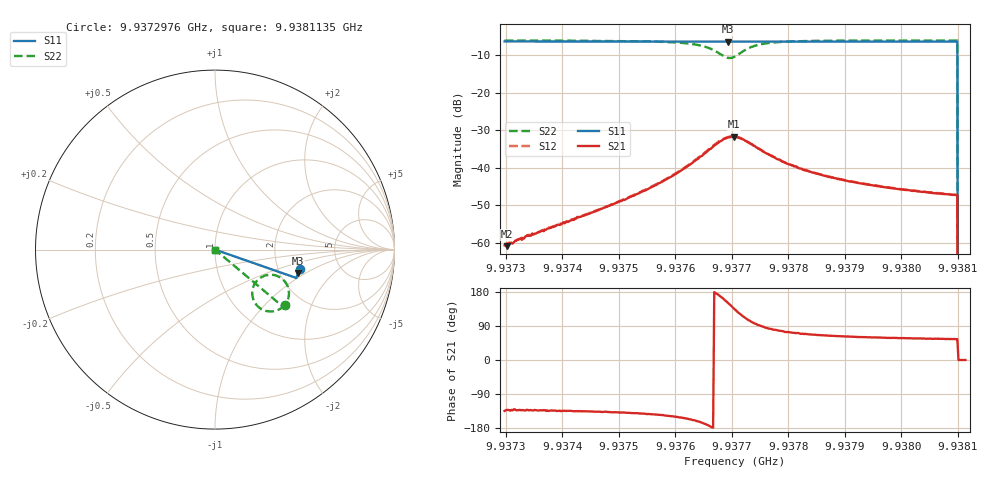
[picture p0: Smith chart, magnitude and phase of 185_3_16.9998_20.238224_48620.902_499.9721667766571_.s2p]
#  HZ  S  RI  R  50.00
! Rohde & Schwarz Vector Network Analyzer
! Rohde-Schwarz,ZNB20-2Port,1311601062101988,3.16
! Created: UTC 3/20/2024, 11:00:20 PM
! freq[Hz]  re:S11  im:S11  re:S21  im:S21  re:S12  im:S12  re:S22  im:S22
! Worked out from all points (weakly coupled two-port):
!   401 points, 9.9372976 GHz to 9.9381135 GHz, reference 50 ohm
!   highest |S21| = -31.72 dB at 9.9377035 GHz (marker M1); lowest = -60.9 dB at 9.9373017 GHz (marker M2)
!   lowest |S11| = -6.4 dB at 9.9376933 GHz (marker M3), VSWR 2.84, Z = 125 - j42.6 ohm
!   |S11| at or under -10 dB: 9.9380993 GHz to end of sweep
!   |S22| runs from - to -6.0 dB; largest |S21 - S12| = 0.0012
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9.93729758e9  0.4717 -0.1063  -0.000645 -0.000661  -0.000636 -0.000685  0.3889 -0.3103
9.93730166e9  0.4714 -0.1065  -0.000597 -0.000675  -0.000684 -0.00071  0.3885 -0.3105
9.93733837e9  0.4709 -0.109  -0.000839 -0.000945  -0.00088 -0.000911  0.3851 -0.3139
9.93743425e9  0.4689 -0.1156  -0.0016 -0.0016  -0.00165 -0.00162  0.3737 -0.3232
9.93750768e9  0.4671 -0.1204  -0.00279 -0.00247  -0.00288 -0.00246  0.3595 -0.3323
9.93757091e9  0.4655 -0.1248  -0.00508 -0.00359  -0.00521 -0.00356  0.3368 -0.3412
9.93760967e9  0.4644 -0.1275  -0.00805 -0.00432  -0.00829 -0.00426  0.3101 -0.3448
9.93765047e9  0.4626 -0.1303  -0.0149 -0.00326  -0.0154 -0.00304  0.2543 -0.3285
9.93767698e9  0.4611 -0.1313  -0.0216 0.00344  -0.022 0.00422  0.2098 -0.2644
9.9376933e9  0.4603 -0.1313  -0.0221 0.0125  -0.022 0.0135  0.2205 -0.1921
9.9377035e9  0.4605 -0.1313  -0.0187 0.0179  -0.0182 0.0188  0.2564 -0.155
9.93770554e9  0.4606 -0.1314  -0.0176 0.0189  -0.0172 0.0197  0.2652 -0.1504
9.93771574e9  0.461 -0.1316  -0.0122 0.0213  -0.0116 0.0221  0.3115 -0.14
9.93773002e9  0.4614 -0.1325  -0.00552 0.021  -0.00496 0.0212  0.3626 -0.1548
9.93775246e9  0.4616 -0.1341  0.000248 0.0172  0.000747 0.0171  0.4004 -0.1949
9.93779325e9  0.4612 -0.1373  0.00323 0.0114  0.00328 0.0113  0.4124 -0.2449
9.93784221e9  0.46 -0.1409  0.00337 0.00801  0.0036 0.00801  0.4077 -0.2744
9.93791156e9  0.4584 -0.1457  0.00306 0.00574  0.00324 0.00574  0.399 -0.2951
9.93797888e9  0.4568 -0.1502  0.00282 0.00459  0.00295 0.00461  0.3918 -0.3069
9.93809515e9  0.4538 -0.1578  0.00247 0.00356  0.00256 0.00356  0.3819 -0.3202
9.93810535e9  0 0  0 0  0 0  0 0
9.93811351e9  0 0  0 0  0 0  0 0
